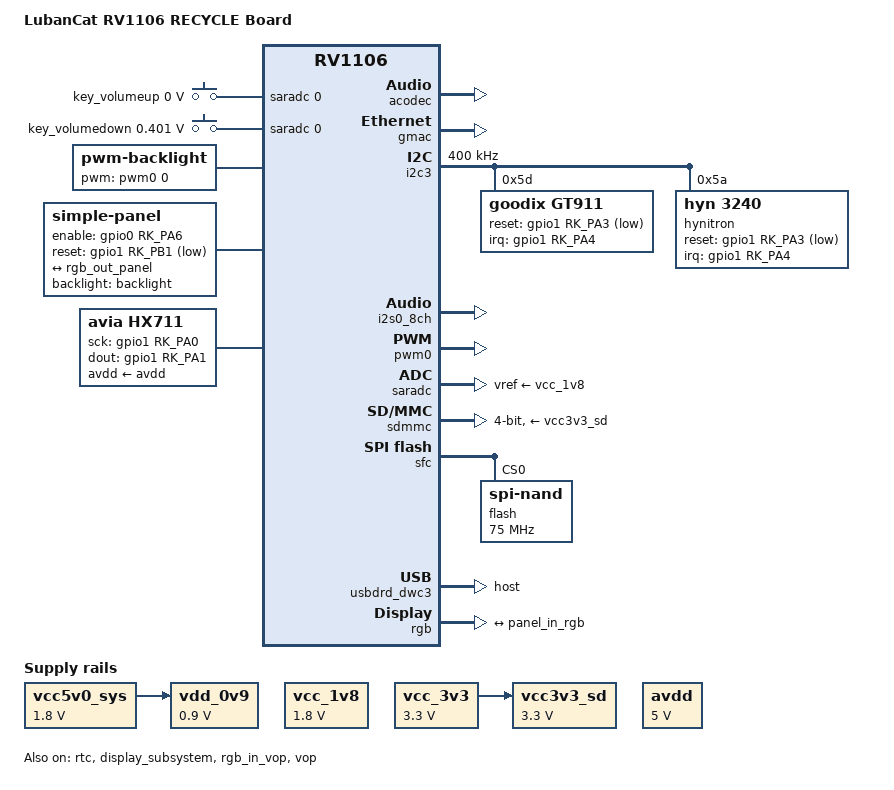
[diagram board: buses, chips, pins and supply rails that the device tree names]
// SPDX-License-Identifier: (GPL-2.0+ OR MIT)
/*
 * Copyright (c) 2022 Rockchip Electronics Co., Ltd.
 */

/dts-v1/;

#include "rv1106.dtsi"
#include "rv1106-evb.dtsi"
#include <dt-bindings/display/media-bus-format.h>

/ {
    model = "LubanCat RV1106 RECYCLE Board";
	compatible = "embedfire,rv1106g-lubancat-recycle", "rockchip,rv1106";

	chosen {
		bootargs = "earlycon=uart8250,mmio32,0xff4c0000 console=ttyFIQ0 root=/dev/mmcblk0p5 rootfstype=ext4 rootwait snd_soc_core.prealloc_buffer_size_kbytes=16 coherent_pool=0 net.ifnames=0 biosdevname=0";
	};

	acodec_sound: acodec-sound {
		compatible = "simple-audio-card";
		simple-audio-card,name = "rv1106-acodec";
		simple-audio-card,format = "i2s";
		simple-audio-card,mclk-fs = <256>;
		simple-audio-card,cpu {
			sound-dai = <&i2s0_8ch>;
		};
		simple-audio-card,codec {
			sound-dai = <&acodec>;
		};
	};

	dsm_sound: dsm-sound {
		status = "disabled";
		compatible = "simple-audio-card";
		simple-audio-card,format = "i2s";
		simple-audio-card,mclk-fs = <256>;
		simple-audio-card,name = "rockchip,dsm-sound";
		simple-audio-card,bitclock-master = <&sndcodec>;
		simple-audio-card,frame-master = <&sndcodec>;
		sndcpu: simple-audio-card,cpu {
			sound-dai = <&i2s0_8ch>;
		};
		sndcodec: simple-audio-card,codec {
			sound-dai = <&dsm>;
		};
	};

	adc-keys {
		compatible = "adc-keys";
		io-channels = <&saradc 0>;
		io-channel-names = "buttons";
		poll-interval = <100>;
		keyup-threshold-microvolt = <1800000>;

		key_volumeup-key {
			label = "key_volumeup";
			linux,code = <KEY_VOLUMEUP>;
			press-threshold-microvolt = <0>;
		};

		key_volumedown-key {
			label = "key_volumedown";
			linux,code = <KEY_VOLUMEDOWN>;
			press-threshold-microvolt = <400781>;
		};
	};

	backlight: backlight {
		status = "okay";
		compatible = "pwm-backlight";
		pwms = <&pwm0 0 25000 0>;
		brightness-levels = <
			  0   1   2   3   4   5   6   7
			  8   9  10  11  12  13  14  15
			 16  17  18  19  20  21  22  23
			 24  25  26  27  28  29  30  31
			 32  33  34  35  36  37  38  39
			 40  41  42  43  44  45  46  47
			 48  49  50  51  52  53  54  55
			 56  57  58  59  60  61  62  63
			 64  65  66  67  68  69  70  71
			 72  73  74  75  76  77  78  79
			 80  81  82  83  84  85  86  87
			 88  89  90  91  92  93  94  95
			 96  97  98  99 100 101 102 103
			104 105 106 107 108 109 110 111
			112 113 114 115 116 117 118 119
			120 121 122 123 124 125 126 127
			128 129 130 131 132 133 134 135
			136 137 138 139 140 141 142 143
			144 145 146 147 148 149 150 151
			152 153 154 155 156 157 158 159
			160 161 162 163 164 165 166 167
			168 169 170 171 172 173 174 175
			176 177 178 179 180 181 182 183
			184 185 186 187 188 189 190 191
			192 193 194 195 196 197 198 199
			200 201 202 203 204 205 206 207
			208 209 210 211 212 213 214 215
			216 217 218 219 220 221 222 223
			224 225 226 227 228 229 230 231
			232 233 234 235 236 237 238 239
			240 241 242 243 244 245 246 247
			248 249 250 251 252 253 254 255>;
		default-brightness-level = <255>;
	};

	panel: panel {
		status = "okay";
		compatible = "simple-panel";
		backlight = <&backlight>;
		bus-format = <MEDIA_BUS_FMT_RGB666_1X18>;
		enable-gpios = <&gpio0 RK_PA6 GPIO_ACTIVE_HIGH>;
        enable-delay-ms = <20>;
		reset-gpios = <&gpio1 RK_PB1 GPIO_ACTIVE_LOW>;
		reset-delay-ms = <20>;

		display-timings {
			native-mode = <&timing0>;

			timing0: timing0 {
				clock-frequency = <53040000>;
				hactive = <1024>;
				vactive = <600>;
				hback-porch = <160>;
				hfront-porch = <160>;
				vback-porch = <25>;
				vfront-porch = <20>;
				hsync-len = <16>;
				vsync-len = <5>; //value range <2~22>
				hsync-active = <0>;
				vsync-active = <1>;
				de-active = <0>;
				pixelclk-active = <0>;
			};
		};

		port {
			panel_in_rgb: endpoint {
				remote-endpoint = <&rgb_out_panel>;
			};
		};
	};

	reserved-memory {
		#address-cells = <1>;
		#size-cells = <1>;
		ranges;

		linux,cma {
			compatible = "shared-dma-pool";
			inactive;
			reusable;
			size = <0x1000000>;
			linux,cma-default;
		};

		drm_logo: drm-logo@00000000 {
			compatible = "rockchip,drm-logo";
			reg = <0x0 0x0>;
		};
	};

	vcc5v0_sys: vcc5v0-sys {
		compatible = "regulator-fixed";
		regulator-name = "vcc5v0_sys";
		regulator-always-on;
		regulator-boot-on;
		regulator-min-microvolt = <1800000>;
		regulator-max-microvolt = <1800000>;
	};

	vdd_0v9: vdd-0v9 {
		compatible = "regulator-fixed";
		regulator-name = "vdd_0v9";
		regulator-always-on;
		regulator-boot-on;
		regulator-min-microvolt = <900000>;
		regulator-max-microvolt = <900000>;
		vin-supply = <&vcc5v0_sys>;
	};

	vcc_1v8: vcc-1v8 {
		compatible = "regulator-fixed";
		regulator-name = "vcc_1v8";
		regulator-always-on;
		regulator-boot-on;
		regulator-min-microvolt = <1800000>;
		regulator-max-microvolt = <1800000>;
	};

	vcc_3v3: vcc-3v3 {
		compatible = "regulator-fixed";
		regulator-name = "vcc_3v3";
		regulator-always-on;
		regulator-boot-on;
		regulator-min-microvolt = <3300000>;
		regulator-max-microvolt = <3300000>;
	};

	vcc3v3_sd: vcc3v3-sd {
		compatible = "regulator-fixed";
		regulator-name = "vcc3v3_sd";
		regulator-always-on;
		regulator-boot-on;
		regulator-min-microvolt = <3300000>;
		regulator-max-microvolt = <3300000>;
		vin-supply = <&vcc_3v3>;
	};

	avdd: avdd {
		compatible = "regulator-fixed";
		regulator-name = "avdd";
		regulator-always-on;
		regulator-boot-on;
		regulator-min-microvolt = <5000000>;
		regulator-max-microvolt = <5000000>;
	};

    hx711: hx711 {
        compatible = "avia,hx711";
        sck-gpios = <&gpio1 RK_PA0 GPIO_ACTIVE_HIGH>;
        dout-gpios = <&gpio1 RK_PA1 GPIO_ACTIVE_HIGH>;
        avdd-supply = <&avdd>;
        clock-frequency = <100000>;
    };
};

&acodec {
	#sound-dai-cells = <0>;
	pa-ctl-gpios = <&gpio4 RK_PA1 GPIO_ACTIVE_HIGH>;
	status = "okay";
};

&cpu0 {
	cpu-supply = <&vdd_0v9>;
};

&dsm {
	status = "disabled";
};

&gmac {
	status = "okay";
};

&i2c3 {
    status = "okay";
    clock-frequency = <400000>;
    pinctrl-names = "default";
    pinctrl-0 = <&i2c3m2_xfer>;


	gt911: gt911@5d {
		status = "okay";
		compatible = "goodix,gt911";
		reg = <0x5d>;
		interrupt-parent = <&gpio1>;
		interrupts = <RK_PA4 IRQ_TYPE_LEVEL_LOW>;
		reset-gpios = <&gpio1 RK_PA3 GPIO_ACTIVE_LOW>;
		irq-gpios = <&gpio1 RK_PA4 GPIO_ACTIVE_HIGH>;
		// touchscreen-inverted-x = <1>;
		// touchscreen-inverted-y = <1>;
	};

    hynitron@5a {
        compatible = "hyn,3240";      //根据芯片型号配置
        reg = <0x5a>;				  //根据芯片型号配置

        interrupt-parent = <&gpio1>;   //根据平台配置
        interrupts = <RK_PA4 IRQ_TYPE_LEVEL_LOW>;       //根据平台配置
        reset-gpio = <&gpio1 RK_PA3 GPIO_ACTIVE_LOW>; //根据平台配置
        irq-gpio = <&gpio1 RK_PA4 GPIO_ACTIVE_HIGH>;   //根据平台配置
        
        max-touch-number = <5>;
        display-coords = <0 0 1024 600>;
		pos-swap = <0>;     			//xy坐标交换
		posx-reverse = <0>; 			//x坐标反向
		posy-reverse = <0>; 			//y坐标反向
    };
};

&i2s0_8ch {
	#sound-dai-cells = <0>;
	status = "okay";
};

&pwm0 {
	status = "okay";
};

&rmii_phy {
	bgs,increment = <0>;
};

&rtc {
	status = "okay";
};

&saradc {
	status = "okay";
	vref-supply = <&vcc_1v8>;
};

&sdmmc {
	max-frequency = <200000000>;
	no-sdio;
	no-mmc;
	bus-width = <4>;
	cap-mmc-highspeed;
	cap-sd-highspeed;
	disable-wp;
	pinctrl-names = "normal", "idle";
	pinctrl-0 = <&sdmmc0_clk &sdmmc0_cmd &sdmmc0_det &sdmmc0_bus4>;
	pinctrl-1 = <&sdmmc0_idle_pins &sdmmc0_det>;
	vmmc-supply = <&vcc3v3_sd>;
	status = "okay";
};

&sfc {
	status = "okay";

	flash@0 {
		compatible = "spi-nand";
		reg = <0>;
		spi-max-frequency = <75000000>;
		spi-rx-bus-width = <4>;
		spi-tx-bus-width = <1>;
	};
};

&usbdrd_dwc3 {
    extcon = <&u2phy>;
	status = "okay";
    dr_mode = "host";
};

&display_subsystem {
	status = "okay";
	logo-memory-region = <&drm_logo>;
};

&rgb {
	status = "okay";
	pinctrl-names = "default";
	pinctrl-0 = <&lcd_pins>;

	ports {
		rgb_out: port@1 {
			reg = <1>;
			#address-cells = <1>;
			#size-cells = <0>;

            rgb_out_panel: endpoint@0 {
                reg = <0>;
                remote-endpoint = <&panel_in_rgb>;
            };
		};
	};
};

&rgb_in_vop {
	status = "okay";
};

&route_rgb {
    status = "disabled";
};

&vop {
	status = "okay";
};
